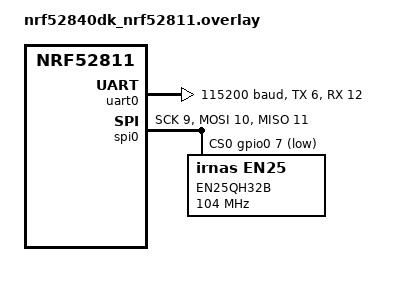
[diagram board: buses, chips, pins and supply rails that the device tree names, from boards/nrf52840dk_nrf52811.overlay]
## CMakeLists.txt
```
# SPDX-License-Identifier: Apache-2.0

cmake_minimum_required(VERSION 3.20.0)

# create compile_commands.json for clang
set(CMAKE_EXPORT_COMPILE_COMMANDS on)

find_package(Zephyr REQUIRED HINTS $ENV{ZEPHYR_BASE})
project(sample_test)

# Make a helper variable for the app directory
set(APP_DIR ../../app/main/src)

# Add source files with test code
file(GLOB app_sources src/*.c)
target_sources(app PRIVATE ${app_sources})
```

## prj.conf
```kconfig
CONFIG_LOG=y
CONFIG_LOG_MODE_IMMEDIATE=y

CONFIG_ZTEST=y
CONFIG_ZTEST_NEW_API=y

CONFIG_SPI=y
CONFIG_FLASH=y
CONFIG_FLASH_PAGE_LAYOUT=y

CONFIG_SPI_FLASH_EN25=y
CONFIG_SPI_FLASH_EN25_JEDEC_CHECK_AT_INIT=y

CONFIG_PM_DEVICE=y
```

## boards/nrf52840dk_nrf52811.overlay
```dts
/*
 * Copyright (c) 2020 Nordic Semiconductor ASA
 *
 * SPDX-License-Identifier: Apache-2.0
 */

&uart0 {
	status = "okay";
	current-speed = <115200>;
	tx-pin = <6>;
	rx-pin = <12>;
	/delete-property/   rts-pin;
    /delete-property/	cts-pin;
};

&spi0 {
    status = "okay";
    sck-pin = < 9 >;
    mosi-pin = < 10 >;
    miso-pin = < 11 >;
    cs-gpios = <&gpio0 7 1>;

    flash42: en25qh32b@0 {
        reg = <0>;
        label = "EN25QH32B";
        status = "okay";
        compatible = "irnas,en25";

        jedec-id = [1c 70 16];  //Check this
        size = <33554432>;
        sector-size = <4096>;
        block-size = <4096>;
        page-size = <256>;
        spi-max-frequency = <104000000>;

        enter-dpd-delay = <30>;
        exit-dpd-delay = <30>;
    };
};
```

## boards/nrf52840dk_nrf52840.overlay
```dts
&spi1 {
	status = "okay";

	en25qh32b: en25qh32b@1 {
		reg = <1>;
		status = "okay";
		compatible = "mxicy,en25";

		jedec-id = [ 1c 70 16  ];  // EN25
		size = <(4194304 * 8)>;

		write-sector-size = <256>;
		erase-full-block-size = <65536>;
		erase-half-block-size = <32768>;
		erase-sector-size = <4096>;

		spi-max-frequency = <4000000>;

		enter-dpd-delay = <30>;
		exit-dpd-delay = <30>;

		wp-gpios = <&gpio0 22 0>;
		hold-gpios = <&gpio0 23 0>;
	};
};
```

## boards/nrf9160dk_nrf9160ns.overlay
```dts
/*
 * Copyright (c) 2020 Nordic Semiconductor ASA
 *
 * SPDX-License-Identifier: Apache-2.0
 */

&spi3 {
    status = "okay";
    sck-pin = < 28 >;
    mosi-pin = < 29 >;
    miso-pin = < 27 >;
    cs-gpios = <&gpio0 2 1>;

    flash42: en25qh32b@0 {
        reg = <0>;
        label = "EN25QH32B";
        status = "okay";
        compatible = "irnas,en25";

        jedec-id = [1c 70 16];  //Check this
        size = <33554432>;
        sector-size = <4096>;
        block-size = <4096>;
        page-size = <256>;
        spi-max-frequency = <104000000>;

        enter-dpd-delay = <30>;
        exit-dpd-delay = <30>;
    };
};

&uart0 {
	status = "okay";
	current-speed = <115200>;
	tx-pin = <4>;
	rx-pin = <6>;
	/delete-property/ rts-pin;
    /delete-property/	cts-pin;
};
```

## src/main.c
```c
#include <zephyr/devicetree.h>
#include <zephyr/drivers/flash.h>
#include <zephyr/drivers/gpio.h>
#include <zephyr/kernel.h>
#include <zephyr/logging/log_ctrl.h>
#include <zephyr/pm/device.h>
#include <zephyr/storage/flash_map.h>
#include <zephyr/ztest.h>

#define CHIP_SIZE_BITS	  DT_PROP(DT_NODELABEL(en25qh32b), size)
#define ERASE_SECTOR_SIZE DT_PROP(DT_NODELABEL(en25qh32b), erase_sector_size)

/* Since we erase the test region, it's offset must be a multiple of the erase-sector-size */
#define TEST_REGION_OFFSET (ERASE_SECTOR_SIZE * 4)
/* The size of test region must also be a multiple of the erase-sector-size, for the same reason */
#define TEST_REGION_SIZE   (ERASE_SECTOR_SIZE * 2)
#define ERASE_BUF_SIZE	   ERASE_SECTOR_SIZE

/* Define stattically so not a lot of additional stack space is required */
static uint8_t write_buf[TEST_REGION_SIZE];
static uint8_t read_buf[TEST_REGION_SIZE];
static uint8_t erase_check_buf[ERASE_BUF_SIZE];

const struct device *flash_dev = DEVICE_DT_GET(DT_NODELABEL(en25qh32b));

ZTEST_SUITE(flash_test_suite, NULL, NULL, NULL, NULL, NULL);

ZTEST(flash_test_suite, test_full_erase_full_read_write)
{
	int err;
	uint8_t data;
	struct flash_pages_info pages_info;
	size_t page_count, chip_size;

	page_count = flash_get_page_count(flash_dev);
	(void)flash_get_page_info_by_idx(flash_dev, 0, &pages_info);
	chip_size = page_count * pages_info.size;
	err = flash_read(flash_dev, TEST_REGION_OFFSET, &data, 1);

	/* Chip size that we get from multiplication is in bytes,
	 * but CHIP_SIZE_BITS that we get from device tree macro is in bits*/
	zassert_equal((chip_size * 8), CHIP_SIZE_BITS, "Chip sizes are not equal");
	zassert_equal(pages_info.size, ERASE_SECTOR_SIZE, "Page sizes are not equal");
	zassert_equal(err, 0, "Flash read failed");

	printk(" INFO - Starting full flash erase, this will take around 15 "
	       "seconds...\n");
	err = flash_erase(flash_dev, 0, chip_size);
	zassert_equal(err, 0, "Full flash erase failed");

	printk(" INFO - Checking that everything was erased, this will take some "
	       "time...\n");
	for (int i = 0; i < page_count; i++) {
		err = flash_read(flash_dev, ERASE_BUF_SIZE * i, erase_check_buf, ERASE_BUF_SIZE);
		zassert_equal(err, 0, "Flash read failed at i: %d", i);
		for (int j = 0; j < ERASE_BUF_SIZE; j++) {
			zassert_equal(erase_check_buf[j], 0xFF,
				      "ERROR at erase_check_buf[%d]: expected 0x%02X, got "
				      "0x%02X\n,\n i is: %d",
				      j, 0xFF, erase_check_buf[j], i);
		}
	}

	printk(" INFO - Writing entire flash with dummy values, this will take some "
	       "time...\n");
	for (int i = 0; i < ERASE_BUF_SIZE; ++i) {
		erase_check_buf[i] = i;
	}
	for (int i = 0; i < page_count; i++) {
		err = flash_write(flash_dev, ERASE_BUF_SIZE * i, erase_check_buf, ERASE_BUF_SIZE);
		zassert_equal(err, 0, "Flash write failed at i: %d", i);
	}

	/* Empty buffer just in case*/
	for (int i = 0; i < ERASE_BUF_SIZE; ++i) {
		erase_check_buf[i] = 0;
	}

	printk(" INFO - Reading entire flash, this will take some time...\n");
	for (int i = 0; i < page_count; i++) {
		err = flash_read(flash_dev, ERASE_BUF_SIZE * i, erase_check_buf, ERASE_BUF_SIZE);
		zassert_equal(err, 0, "Flash read failed at i: %d", i);
		for (int j = 0; j < ERASE_BUF_SIZE; j++) {
			zassert_equal(erase_check_buf[j], (uint8_t)j,
				      "ERROR at erase_check_buf[%d]: expected 0x%02X, got "
				      "0x%02X\n,\n i is: %d",
				      j, j, erase_check_buf[j], i);
		}
	}
}

ZTEST(flash_test_suite, test_erase_read_write)
{
	int err;
	uint8_t data;
	struct flash_pages_info pages_info;
	size_t page_count, chip_size;

	page_count = flash_get_page_count(flash_dev);
	(void)flash_get_page_info_by_idx(flash_dev, 0, &pages_info);
	chip_size = page_count * pages_info.size;
	err = flash_read(flash_dev, TEST_REGION_OFFSET, &data, 1);

	/* Chip size that we get from multiplication is in bytes,
	 * but CHIP_SIZE_BITS that we get form device tree macro is in bits*/
	zassert_equal((chip_size * 8), CHIP_SIZE_BITS, "Chip sizes are not equal");
	zassert_equal(pages_info.size, ERASE_SECTOR_SIZE, "Page sizes are not equal");
	zassert_equal(err, 0, "Flash read failed");

	++data;
	for (int i = 0; i < TEST_REGION_SIZE; ++i) {
		write_buf[i] = (uint8_t)(data + i);
	}

	err = flash_erase(flash_dev, TEST_REGION_OFFSET, TEST_REGION_SIZE);
	zassert_equal(err, 0, "Flash region erase failed");

	err = flash_read(flash_dev, TEST_REGION_OFFSET, read_buf, TEST_REGION_SIZE);
	zassert_equal(err, 0, "Flash read failed");

	for (int i = 0; i < TEST_REGION_SIZE; ++i) {
		zassert_equal(read_buf[i], 0xFF,
			      "ERROR at read_buf[%d]: expected 0x%02X, got 0x%02X\n", i, 0xFF,
			      read_buf[i]);
	}

	err = flash_write(flash_dev, TEST_REGION_OFFSET, write_buf, TEST_REGION_SIZE);
	zassert_equal(err, 0, "Flash write failed");

	err = flash_read(flash_dev, TEST_REGION_OFFSET, read_buf, TEST_REGION_SIZE);
	zassert_equal(err, 0, "Flash read failed");

	for (int i = 0; i < TEST_REGION_SIZE; ++i) {
		zassert_equal(read_buf[i], write_buf[i],
			      "ERROR at read_buf[%d]: expected 0x%02X, got 0x%02X\n", i,
			      write_buf[i], read_buf[i]);
	}
}

#define TEST_AREA_MAX DT_PROP(DT_NODELABEL(en25qh32b), size)
#define EXPECTED_SIZE 1024
#define CANARY	      0xff

static uint8_t __aligned(4) expected[EXPECTED_SIZE];

ZTEST(flash_test_suite, test_setup1)
{
	int rc;
	const struct device *flash_dev;
	struct flash_pages_info page_info;

	flash_dev = DEVICE_DT_GET(DT_NODELABEL(en25qh32b));
	const struct flash_parameters *flash_parameters = flash_get_parameters(flash_dev);

	/* For tests purposes use page (in nrf_qspi_nor page = 64 kB) */
	flash_get_page_info_by_offs(flash_dev, TEST_REGION_OFFSET, &page_info);

	/* Check if test region is not empty */
	uint8_t buf[EXPECTED_SIZE];

	rc = flash_read(flash_dev, TEST_REGION_OFFSET, buf, EXPECTED_SIZE);
	zassert_equal(rc, 0, "Cannot read flash");

	/* Fill test buffer with random data */
	for (int i = 0; i < EXPECTED_SIZE; i++) {
		expected[i] = i;
	}

	/* Check if tested region fits in flash */
	zassert_true((TEST_REGION_OFFSET + EXPECTED_SIZE) < TEST_AREA_MAX,
		     "Test area exceeds flash size");

	/* Check if flash is cleared */
	bool is_buf_clear = true;

	for (off_t i = 0; i < EXPECTED_SIZE; i++) {
		if (buf[i] != flash_parameters->erase_value) {
			is_buf_clear = false;
			break;
		}
	}

	if (!is_buf_clear) {
		/* erase page */
		rc = flash_erase(flash_dev, page_info.start_offset, page_info.size);
		zassert_equal(rc, 0, "Flash memory not properly erased");
	}
}

ZTEST(flash_test_suite, test_read_unaligned_address)
{
	int rc;
	uint8_t buf[EXPECTED_SIZE];
	const struct device *flash_dev;
	struct flash_pages_info page_info;

	flash_dev = DEVICE_DT_GET(DT_NODELABEL(en25qh32b));

	flash_get_page_info_by_offs(flash_dev, TEST_REGION_OFFSET, &page_info);

	rc = flash_write(flash_dev, page_info.start_offset, expected, EXPECTED_SIZE);
	zassert_equal(rc, 0, "Cannot write to flash");

	/* read buffer length*/
	for (off_t len = 0; len < 25; len++) {
		/* address offset */
		for (off_t ad_o = 0; ad_o < 4; ad_o++) {
			/* buffer offset; leave space for buffer guard */
			for (off_t buf_o = 1; buf_o < 5; buf_o++) {
				/* buffer overflow protection */
				buf[buf_o - 1] = CANARY;
				buf[buf_o + len] = CANARY;
				memset(buf + buf_o, 0, len);
				rc = flash_read(flash_dev, page_info.start_offset + ad_o,
						buf + buf_o, len);
				zassert_equal(rc, 0, "Cannot read flash");
				zassert_equal(memcmp(buf + buf_o, expected + ad_o, len), 0,
					      "Flash read failed at len=%d, "
					      "ad_o=%d, buf_o=%d",
					      len, ad_o, buf_o);
				/* check buffer guards */
				zassert_equal(buf[buf_o - 1], CANARY,
					      "Buffer underflow at len=%d, "
					      "ad_o=%d, buf_o=%d",
					      len, ad_o, buf_o);
				zassert_equal(buf[buf_o + len], CANARY,
					      "Buffer overflow at len=%d, "
					      "ad_o=%d, buf_o=%d",
					      len, ad_o, buf_o);
			}
		}
	}
}

ZTEST(flash_test_suite, test_low_power)
{
#if IS_ENABLED(CONFIG_PM_DEVICE)
	printk("Putting the flash device into low power state...\n");
	int err = pm_device_action_run(flash_dev, PM_DEVICE_ACTION_SUSPEND);
	zassert_equal(err, 0, "Setting low power mode failed");
#endif
}
```
